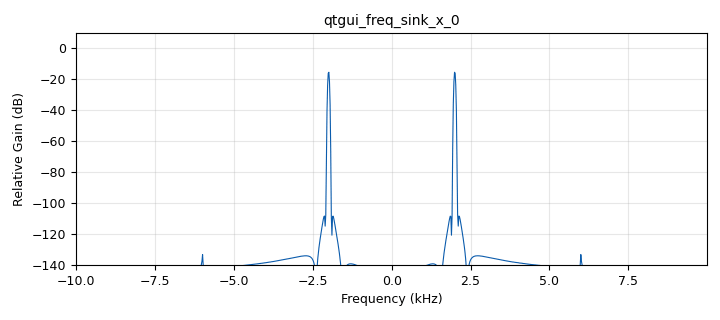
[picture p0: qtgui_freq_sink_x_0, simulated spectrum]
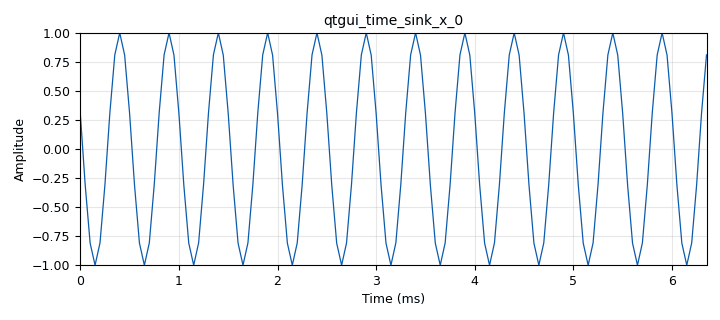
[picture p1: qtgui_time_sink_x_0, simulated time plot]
options:
  parameters:
    author: Lorena_Cardozo_J1A_G1
    generate_options: qt_gui
    id: Lab_1_punto_1
    output_language: python
    title: Lab_muestreo
  states: {}

blocks:
- name: freq
  id: variable_qtgui_range
  parameters:
    label: frequency
    outputmsgname: value
    showports: 'False'
    start: '1000'
    step: '1000'
    stop: '40000'
    value: '2000'
  states: {}
- name: samp_rate
  id: variable_qtgui_range
  parameters:
    outputmsgname: value
    showports: 'False'
    start: '1000'
    step: '1000'
    stop: '80000'
    value: '20000'
  states: {}
- name: analog_sig_source_x_0
  id: analog_sig_source_x
  parameters:
    amp: '1'
    freq: freq
    offset: '0'
    phase: '0'
    samp_rate: samp_rate
    type: float
    waveform: analog.GR_COS_WAVE
  states: {}
- name: blocks_throttle_0
  id: blocks_throttle
  parameters:
    samples_per_second: samp_rate
    type: float
  states: {}
- name: qtgui_freq_sink_x_0
  id: qtgui_freq_sink_x
  parameters:
    bw: samp_rate
    fc: '0'
    fftsize: '1024'
    type: float
  states: {}
- name: qtgui_time_sink_x_0
  id: qtgui_time_sink_x
  parameters:
    size: '128'
    srate: samp_rate
    type: float
  states: {}

connections:
- [analog_sig_source_x_0, '0', blocks_throttle_0, '0']
- [blocks_throttle_0, '0', qtgui_freq_sink_x_0, '0']
- [blocks_throttle_0, '0', qtgui_time_sink_x_0, '0']

metadata:
  file_format: 1
  grc_version: 3.10.4.0
